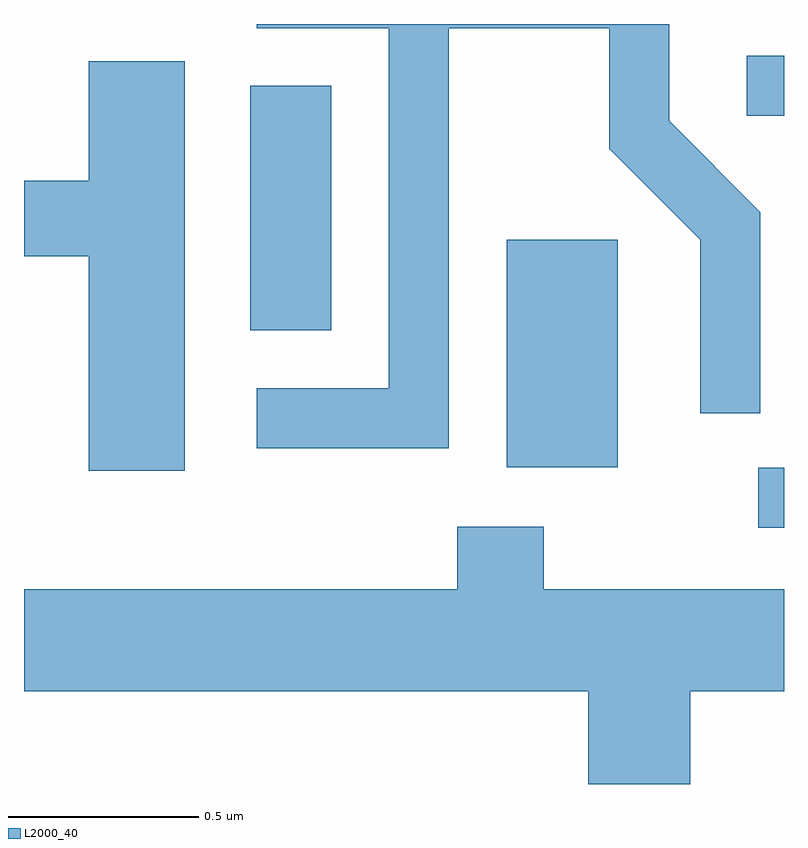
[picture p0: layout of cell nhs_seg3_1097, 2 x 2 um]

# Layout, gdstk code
import gdstk
lib = gdstk.Library(unit=1e-6, precision=1e-09)
def R(c, l, rs):  # rectangles x0, y0, x1, y1
    for r in rs: c.add(gdstk.rectangle(r[:2], r[2:], *l))
def P(c, l, *ps):  # polygons
    for p in ps: c.add(gdstk.Polygon(p, *l))
L2000_40 = (2000, 40)

nhs_seg3_1097 = lib.new_cell('nhs_seg3_1097')
R(nhs_seg3_1097, L2000_40, [(195.543,1117.566,195.611,1117.724), (194.881,1117.726,195.174,1118.324), (194.206,1118.086,194.419,1118.729), (195.513,1118.651,195.611,1118.809)])
P(nhs_seg3_1097, L2000_40, [(194.729,1118.881),(195.151,1118.881),(195.151,1118.564),(195.391,1118.324),(195.391,1117.868),(195.549,1117.868),(195.549,1118.397),(195.309,1118.637),(195.309,1118.892),(194.223,1118.892),(194.223,1118.881),(194.571,1118.881),(194.571,1117.934),(194.223,1117.934),(194.223,1117.776),(194.729,1117.776)],
  [(194.034,1118.794),(193.781,1118.794),(193.781,1118.479),(193.611,1118.479),(193.611,1118.281),(193.781,1118.281),(193.781,1117.716),(194.034,1117.716)],
  [(195.364,1117.136),(195.611,1117.136),(195.611,1117.404),(194.979,1117.404),(194.979,1117.569),(194.751,1117.569),(194.751,1117.404),(193.611,1117.404),(193.611,1117.136),(195.096,1117.136),(195.096,1116.892),(195.364,1116.892)])

lib.write_gds('nhs_seg3_1097.gds')
